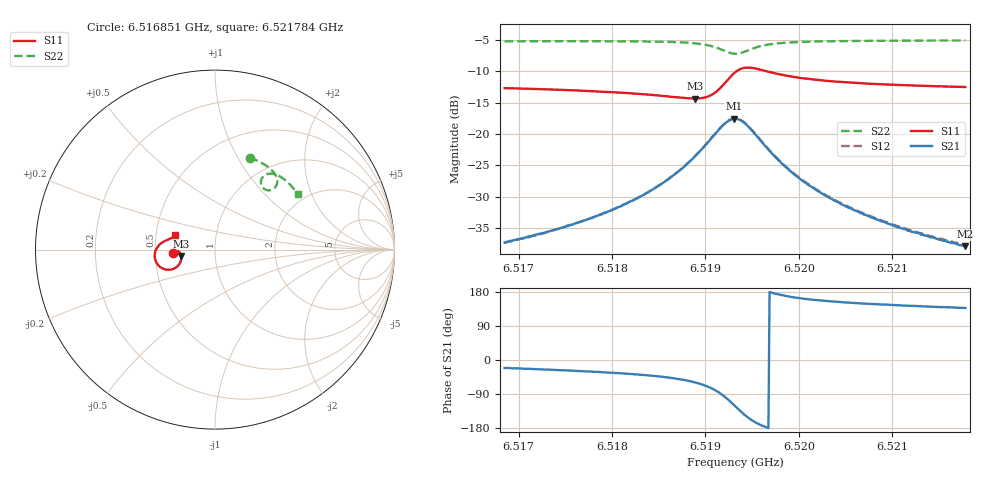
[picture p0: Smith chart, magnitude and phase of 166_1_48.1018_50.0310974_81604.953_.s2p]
#  HZ  S  RI  R  50.00
! Rohde & Schwarz Vector Network Analyzer
! Rohde-Schwarz,ZNB20-2Port,1311601062101988,3.16
! Created: UTC 12/23/2023, 3:51:16 AM
! freq[Hz]  re:S11  im:S11  re:S21  im:S21  re:S12  im:S12  re:S22  im:S22
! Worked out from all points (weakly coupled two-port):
!   401 points, 6.516851 GHz to 6.521784 GHz, reference 50 ohm
!   highest |S21| = -17.57 dB at 6.519305 GHz (marker M1); lowest = -37.8 dB at 6.521784 GHz (marker M2)
!   lowest |S11| = -14.3 dB at 6.518885 GHz (marker M3), VSWR 1.47, Z = 34.1 - j2.46 ohm
!   |S11| at or under -10 dB: start of sweep to 6.519333 GHz; 6.519656 GHz to end of sweep
!   |S22| runs from -7.2 to -5.1 dB; largest |S21 - S12| = 0.0041
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6.5168505e9  -0.2313 -0.02  0.0128 -0.00489  0.0128 -0.00463  0.1927 0.513
6.5172822e9  -0.2267 -0.0135  0.0148 -0.00693  0.015 -0.00643  0.2246 0.5003
6.5176768e9  -0.2214 -0.0085  0.0177 -0.00995  0.0179 -0.00926  0.254 0.486
6.5180961e9  -0.2137 -0.00608  0.0218 -0.0154  0.0224 -0.0146  0.2851 0.4675
6.5185031e9  -0.2024 -0.00983  0.0283 -0.0267  0.0293 -0.0259  0.3166 0.4422
6.5187251e9  -0.1942 -0.0194  0.0326 -0.0397  0.034 -0.0388  0.3337 0.4217
6.5188854e9  -0.1887 -0.0347  0.0342 -0.0566  0.0362 -0.0557  0.3441 0.4004
6.5189964e9  -0.1884 -0.0533  0.0311 -0.0746  0.0337 -0.0742  0.347 0.3796
6.5190828e9  -0.195 -0.074  0.022 -0.0935  0.025 -0.0934  0.3429 0.3598
6.5192061e9  -0.2299 -0.1066  -0.0141 -0.1198  -0.0107 -0.1211  0.3163 0.3332
6.5193047e9  -0.2841 -0.1082  -0.0633 -0.1161  -0.0604 -0.1187  0.2788 0.3355
6.5193171e9  -0.2911 -0.1055  -0.0691 -0.1128  -0.0664 -0.1156  0.2743 0.3382
6.5193787e9  -0.32 -0.0822  -0.0923 -0.0894  -0.0905 -0.0926  0.2588 0.3581
6.5194404e9  -0.334 -0.0514  -0.1016 -0.061  -0.1004 -0.0646  0.2558 0.3807
6.5195391e9  -0.3318 -0.0092  -0.0952 -0.0254  -0.0952 -0.0283  0.2696 0.4079
6.5196501e9  -0.3164 0.0194  -0.0787 -0.0036  -0.0793 -0.00595  0.2921 0.4209
6.5198721e9  -0.288 0.0432  -0.0526 0.0107  -0.0533 0.00932  0.3289 0.4216
6.5201434e9  -0.267 0.0534  -0.0352 0.0134  -0.036 0.0124  0.3594 0.4093
6.5205134e9  -0.2508 0.0606  -0.0233 0.0125  -0.024 0.012  0.3892 0.3888
6.5209697e9  -0.2383 0.0672  -0.016 0.0109  -0.0164 0.0106  0.4183 0.3619
6.5214753e9  -0.2285 0.0745  -0.0112 0.00942  -0.0118 0.00922  0.4455 0.3315
6.5217836e9  -0.2235 0.0786  -0.00938 0.00873  -0.00994 0.00856  0.4603 0.3122
